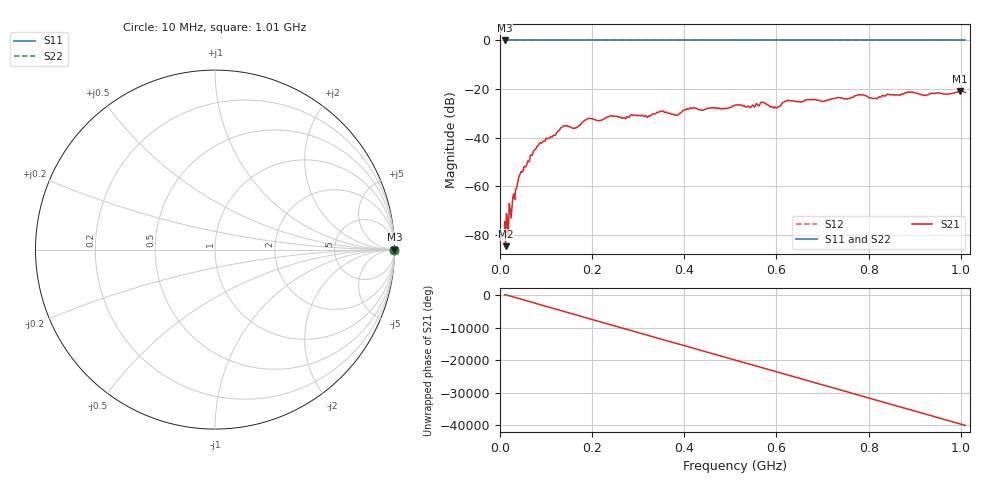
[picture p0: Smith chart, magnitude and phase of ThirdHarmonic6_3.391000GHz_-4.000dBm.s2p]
! 8/17/2025 10:48:17 AM
! C:\ANRITSUVNA\TEMP\TEMP.S2P
! CHANNEL.1
! TR.MEASUREMENT
! RAW.DATA
! RF.CORRECTION.OFF
! AVERAGING.OFF
! IF.BANDWIDTH: 5KHZ
! SWEEPTYPE:  FREQ.SWEEP(Linear)
! Reference Plane Port Info
! PORT:  PORT1  PORT2
! DISTANCE:  0  m  0  m
! TIME:  0  s  0  s
! PHASE.OFFSET:  0  deg.  0  deg.
! LOSS:  0  dB  0  dB
! REF.LOSS:  0  dB  0  dB
! REF.FREQ:  0  Hz  0  Hz
! Power Info
! POWER:  -20  dBm  -20  dBm
! EFF.POWER:  -20  dBm  -20  dBm
! SOURCE.ATTEN:  0  dB  0  dB
! TEST.ATTEN:  0  dB  0  dB
# GHZ S RI R 50.0
! FREQ.GHZ  S11RE  S11IM  S21RE  S21IM  S12RE  S12IM  S22RE  S22IM
!; PortSelection: Port_12
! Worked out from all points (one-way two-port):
!   501 points, 10 MHz to 1.01 GHz, reference 50 ohm
!   highest |S21| = -20.76 dB at 998 MHz (marker M1); lowest = -84.8 dB at 12 MHz (marker M2)
!   lowest |S11| = 0.0 dB at 10 MHz (marker M3)
!   |S11| at or under -10 dB: nowhere
!   |S22| runs from 0.0 to 0.0 dB; largest |S21 - S12| = 1.1
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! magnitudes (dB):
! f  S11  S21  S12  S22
! 10 MHz  0.0  -74.6  0.0  0.0
! 12 MHz  0.0  -84.8  0.0  0.0
! 14 MHz  0.0  -71.4  0.0  0.0
! 18 MHz  0.0  -80.0  0.0  0.0
! 22 MHz  0.0  -69.2  0.0  0.0
! 24 MHz  0.0  -73.2  0.0  0.0
! 44 MHz  0.0  -54.9  0.0  0.0
! 84 MHz  0.0  -43.0  0.0  0.0
! 136 MHz  0.0  -35.6  0.0  0.0
! 162 MHz  0.0  -36.2  0.0  0.0
! 178 MHz  0.0  -33.8  0.0  0.0
! 344 MHz  0.0  -29.6  0.0  0.0
! 382 MHz  0.0  -30.7  0.0  0.0
! 416 MHz  0.0  -28.0  0.0  0.0
! 510 MHz  0.0  -26.7  0.0  0.0
! 570 MHz  0.0  -25.5  0.0  0.0
! 598 MHz  0.0  -27.7  0.0  0.0
! 622 MHz  0.0  -24.8  0.0  0.0
! 678 MHz  0.0  -24.3  0.0  0.0
! 844 MHz  0.0  -22.3  0.0  0.0
! 998 MHz  0.0  -20.8  0.0  0.0
! 1.01 GHz  0.0  -21.4  0.0  0.0
